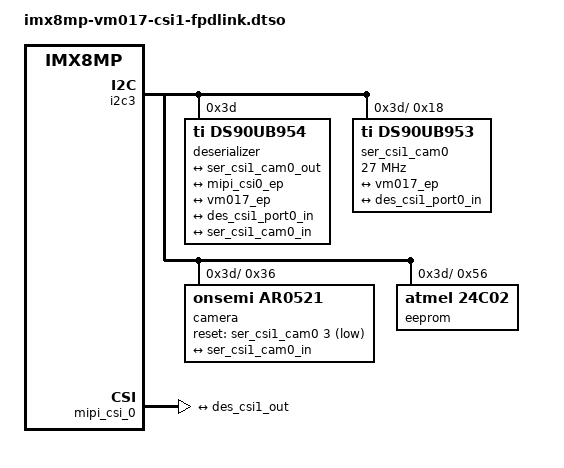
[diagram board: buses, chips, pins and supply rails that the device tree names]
// SPDX-License-Identifier: (GPL-2.0+ OR MIT)
/*
 * Copyright (C) 2022 PHYTEC Messtechnik GmbH
 * Author: Stefan Riedmueller <s.riedmueller@phytec.de>
 */

/dts-v1/;
/plugin/;

#include <dt-bindings/gpio/gpio.h>

/ {
	compatible = "phytec,imx8mp-phyboard-pollux";

	fragment@3 {
		target-path= "/";

		__overlay__ {
			ser_csi1_clk: serializer-csi1-clk {
				#clock-cells = <0>;
				compatible = "fixed-clock";
				clock-frequency = <24000000>;
			};
		};
	};
};

&i2c3 {
	#address-cells = <1>;
	#size-cells = <0>;

	deserializer@3d {
		compatible = "ti,ds90ub954";
		reg = <0x3d 0x70 0x71>;
		reg-names = "device_id", "rx0_id", "rx1_id";

		ports {
			#address-cells = <0x1>;
			#size-cells = <0x0>;
			port@0 {
				reg = <0>;

				ti,aeq-strobe-min = <7>;
				ti,aeq-strobe-max = <10>;
				ti,aeq-eq-min = <2>;
				ti,aeq-eq-max = <14>;

				des_csi1_port0_in: endpoint {
					remote-endpoint = <&ser_csi1_cam0_out>;
				};
			};

			port@2 {
				reg = <2>;
				des_csi1_out: endpoint {
					remote-endpoint = <&mipi_csi0_ep>;
					link-frequencies = /bits/ 64 <
						400000000
					>;
					data-lanes = <1 2 3 4>;
				};
			};
		};

		i2c-mux {
			#address-cells = <0x1>;
			#size-cells = <0x0>;

			i2c_port0: i2c@0 {
				#address-cells = <0x1>;
				#size-cells = <0x0>;
				reg = <0>;
				clock-frequency = <400000>;
			};
		};
	};
};

&i2c_port0 {
	#address-cells = <1>;
	#size-cells = <0>;

	ser_csi1_cam0: serializer@18 {
		compatible = "ti,ds90ub953";
		reg = <0x18>;

		clocks = <&ser_csi1_clk>;
		clock-names = "refclk";

		#clock-cells = <0>;
		clock-output-names = "clkout_csi1_port0";
		clock-frequency = <27000000>;

		gpio-controller;
		#gpio-cells = <2>;

		ports {
			#address-cells = <0x1>;
			#size-cells = <0x0>;
			port@0 {
				reg = <0>;
				ser_csi1_cam0_in: endpoint {
					remote-endpoint = <&vm017_ep>;
					data-lanes = <1 2 3 4>;
				};
			};

			port@1 {
				reg = <1>;
				ser_csi1_cam0_out: endpoint {
					remote-endpoint = <&des_csi1_port0_in>;
				};
			};
		};
	};

	camera@36 {
		#address-cells = <0x1>;
		#size-cells = <0x0>;

		compatible = "onsemi,ar0521";
		reg = <0x36>;
		clocks = <&ser_csi1_cam0>;
		clock-names = "ext";
		isp-bus-info = "csi0";

		reset-gpios = <&ser_csi1_cam0 3 GPIO_ACTIVE_LOW>;

		port@0 {
			reg = <0>;

			vm017_ep: endpoint {
				remote-endpoint = <&ser_csi1_cam0_in>;
				bus-type = <4>; /* MIPI CSI-2 D-PHY */
				link-frequencies = /bits/ 64 <288000000>;
				data-lanes = <1 2 3 4>;
				clock-lanes = <0>;
				clock-noncontinuous = <1>;
			};
		};
	};

	eeprom@56 {
		compatible = "atmel,24c02";
		reg = <0x56>;
		pagesize = <16>;
	};
};

&mipi_csi_0 {
	#address-cells = <1>;
	#size-cells = <0>;

	port@0 {
		reg = <0>;
		mipi_csi0_ep: endpoint {
			remote-endpoint = <&des_csi1_out>;
			data-lanes = <4>;
			csis-hs-settle = <16>;
			csis-clk-settle = <2>;
			csis-wclk;
		};
	};
};
